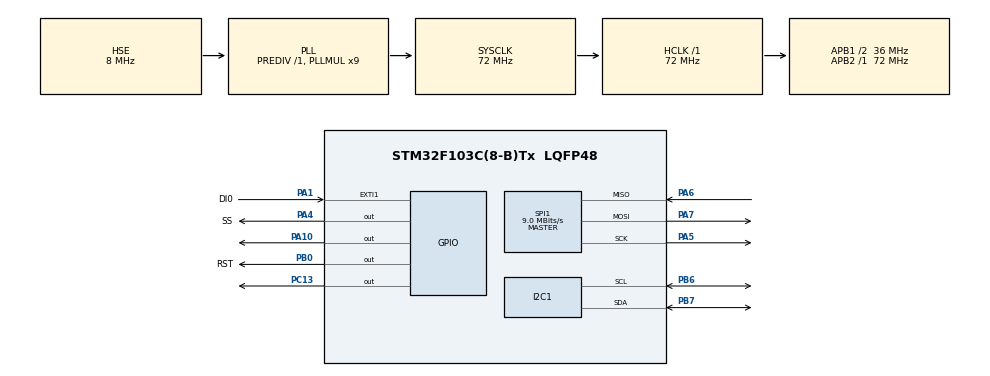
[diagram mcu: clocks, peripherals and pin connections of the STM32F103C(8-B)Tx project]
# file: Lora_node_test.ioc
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Mcu.Family=STM32F1
Mcu.Name=STM32F103C(8-B)Tx
Mcu.Package=LQFP48
NVIC.EXTI1_IRQn=true\:0\:0\:false\:false\:true\:true\:true\:true
NVIC.PriorityGroup=NVIC_PRIORITYGROUP_4
PA1.GPIO_Label=DI0
PA1.Signal=GPXTI1
PA10.Signal=GPIO_Output
PA13.Mode=Serial_Wire
PA13.Signal=SYS_JTMS-SWDIO
PA14.Mode=Serial_Wire
PA14.Signal=SYS_JTCK-SWCLK
PA4.GPIO_Label=SS
PA4.PinState=GPIO_PIN_SET
PA4.Signal=GPIO_Output
PA5.Mode=Full_Duplex_Master
PA5.Signal=SPI1_SCK
PA6.Mode=Full_Duplex_Master
PA6.Signal=SPI1_MISO
PA7.Mode=Full_Duplex_Master
PA7.Signal=SPI1_MOSI
PB0.GPIO_Label=RST
PB0.PinState=GPIO_PIN_SET
PB0.Signal=GPIO_Output
PB6.Mode=I2C
PB6.Signal=I2C1_SCL
PB7.Mode=I2C
PB7.Signal=I2C1_SDA
PC13-TAMPER-RTC.Signal=GPIO_Output
PD0-OSC_IN.Mode=HSE-External-Oscillator
PD0-OSC_IN.Signal=RCC_OSC_IN
PD1-OSC_OUT.Mode=HSE-External-Oscillator
PD1-OSC_OUT.Signal=RCC_OSC_OUT
ProjectManager.HeapSize=0x200
ProjectManager.StackSize=0x400
ProjectManager.TargetToolchain=MDK-ARM V5.32
RCC.AHBFreq_Value=72000000
RCC.APB1CLKDivider=RCC_HCLK_DIV2
RCC.APB1Freq_Value=36000000
RCC.APB1TimFreq_Value=72000000
RCC.APB2Freq_Value=72000000
RCC.APB2TimFreq_Value=72000000
RCC.HCLKFreq_Value=72000000
RCC.PLLMUL=RCC_PLL_MUL9
RCC.PLLSourceVirtual=RCC_PLLSOURCE_HSE
RCC.SYSCLKFreq_VALUE=72000000
RCC.SYSCLKSource=RCC_SYSCLKSOURCE_PLLCLK
RCC.USBFreq_Value=72000000
SPI1.BaudRatePrescaler=SPI_BAUDRATEPRESCALER_8
SPI1.CalculateBaudRate=9.0 MBits/s
SPI1.Direction=SPI_DIRECTION_2LINES
SPI1.Mode=SPI_MODE_MASTER
SPI1.VirtualType=VM_MASTER
board=custom

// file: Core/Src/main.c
/* USER CODE BEGIN Header */
/**
  ******************************************************************************
  * @file           : main.c
  * @brief          : Main program body
  ******************************************************************************
  * @attention
  *
  * Copyright (c) 2024 STMicroelectronics.
  * All rights reserved.
  *
  * This software is licensed under terms that can be found in the LICENSE file
  * in the root directory of this software component.
  * If no LICENSE file comes with this software, it is provided AS-IS.
  *
  ******************************************************************************
  */
/* USER CODE END Header */
#include "main.h"
#include "i2c.h"
#include "spi.h"
#include "gpio.h"

/* USER CODE BEGIN Includes */
#include "LoRa.h"
#include "Anglas_INA226.h"
/* USER CODE END Includes */

/* USER CODE BEGIN PV */
LoRa myLoRa;
uint16_t LoRa_stat = 0;

uint8_t RxBuffer[128];

uint16_t Current_REF_Mem = 0;
/* USER CODE END PV */

void SystemClock_Config(void);

int main(void)
{

  /* MCU Configuration--------------------------------------------------------*/

  /* Reset of all peripherals, Initializes the Flash interface and the Systick. */
  HAL_Init();

  /* Configure the system clock */
  SystemClock_Config();

  /* Initialize all configured peripherals */
  MX_GPIO_Init();
  MX_SPI1_Init();
  MX_I2C1_Init();
  /* USER CODE BEGIN 2 */
  myLoRa = newLoRa();

	myLoRa.CS_port         = SS_GPIO_Port;
	myLoRa.CS_pin          = SS_Pin;
	myLoRa.reset_port      = RST_GPIO_Port;
	myLoRa.reset_pin       = RST_Pin;
	myLoRa.DIO0_port       = DI0_GPIO_Port;
	myLoRa.DIO0_pin        = DI0_Pin;
	myLoRa.hSPIx           = &hspi1;

	myLoRa.frequency             = 433;             // default = 433 MHz
	myLoRa.spredingFactor        = 10U;            // default = SF_7
	myLoRa.bandWidth             = BW_250KHz;       // default = BW_125KHz
	myLoRa.crcRate               = 5U;          // default = CR_4_5
	myLoRa.power                 = POWER_14db;      // default = 20db
	myLoRa.overCurrentProtection = 100;             // default = 100 mA
	myLoRa.preamble              = 12;                // default = 8;
	if(LoRa_init(&myLoRa)==LORA_OK)
	{
		LoRa_stat = 1;
	}

	LoRa_startReceiving(&myLoRa);

	uint8_t TxBuffer[128];
	TxBuffer[0] = 1;
	TxBuffer[1] = 2;

	//LoRa_transmit(&myLoRa, TxBuffer, 3, 500);

	//****Current Sensor Init****/

	INA226_setConfig(&hi2c1, INA226_ADDRESS, INA226_MODE_CONT_SHUNT_AND_BUS | INA226_VBUS_140uS | INA226_VBUS_140uS | INA226_AVG_1024);
	INA226_setCalibrationReg(&hi2c1, INA226_ADDRESS, INA226_CALIB_VAL);

  /* USER CODE END 2 */

  /* Infinite loop */
  while (1)
  {

    /* USER CODE BEGIN 3 */
		Current_REF_Mem = INA226_getCurrentReg(&hi2c1, INA226_ADDRESS);
		TxBuffer[0] = (uint8_t)(Current_REF_Mem >> 8);
    TxBuffer[1] = (uint8_t)(Current_REF_Mem & 0xFF);
		LoRa_transmit(&myLoRa, TxBuffer, 3, 500);
		//HAL_GPIO_TogglePin(GPIOA, GPIO_PIN_10);
		HAL_Delay(2000);
  }
  /* USER CODE END 3 */
}

void SystemClock_Config(void)
{
  RCC_OscInitTypeDef RCC_OscInitStruct = {0};
  RCC_ClkInitTypeDef RCC_ClkInitStruct = {0};

  /** Initializes the RCC Oscillators according to the specified parameters
  * in the RCC_OscInitTypeDef structure.
  */
  RCC_OscInitStruct.OscillatorType = RCC_OSCILLATORTYPE_HSE;
  RCC_OscInitStruct.HSEState = RCC_HSE_ON;
  RCC_OscInitStruct.HSEPredivValue = RCC_HSE_PREDIV_DIV1;
  RCC_OscInitStruct.HSIState = RCC_HSI_ON;
  RCC_OscInitStruct.PLL.PLLState = RCC_PLL_ON;
  RCC_OscInitStruct.PLL.PLLSource = RCC_PLLSOURCE_HSE;
  RCC_OscInitStruct.PLL.PLLMUL = RCC_PLL_MUL9;
  if (HAL_RCC_OscConfig(&RCC_OscInitStruct) != HAL_OK)
  {
    Error_Handler();
  }

  /** Initializes the CPU, AHB and APB buses clocks
  */
  RCC_ClkInitStruct.ClockType = RCC_CLOCKTYPE_HCLK|RCC_CLOCKTYPE_SYSCLK
                              |RCC_CLOCKTYPE_PCLK1|RCC_CLOCKTYPE_PCLK2;
  RCC_ClkInitStruct.SYSCLKSource = RCC_SYSCLKSOURCE_PLLCLK;
  RCC_ClkInitStruct.AHBCLKDivider = RCC_SYSCLK_DIV1;
  RCC_ClkInitStruct.APB1CLKDivider = RCC_HCLK_DIV2;
  RCC_ClkInitStruct.APB2CLKDivider = RCC_HCLK_DIV1;

  if (HAL_RCC_ClockConfig(&RCC_ClkInitStruct, FLASH_LATENCY_2) != HAL_OK)
  {
    Error_Handler();
  }
}

/* USER CODE BEGIN 4 */
void HAL_GPIO_EXTI_Callback(uint16_t GPIO_Pin)
{
  if(GPIO_Pin==DI0_Pin)
	{
		LoRa_receive(&myLoRa, RxBuffer, 128);
	}
}

/* USER CODE END 4 */

void Error_Handler(void)
{
  __disable_irq();
  while (1)
  {
  }
}
